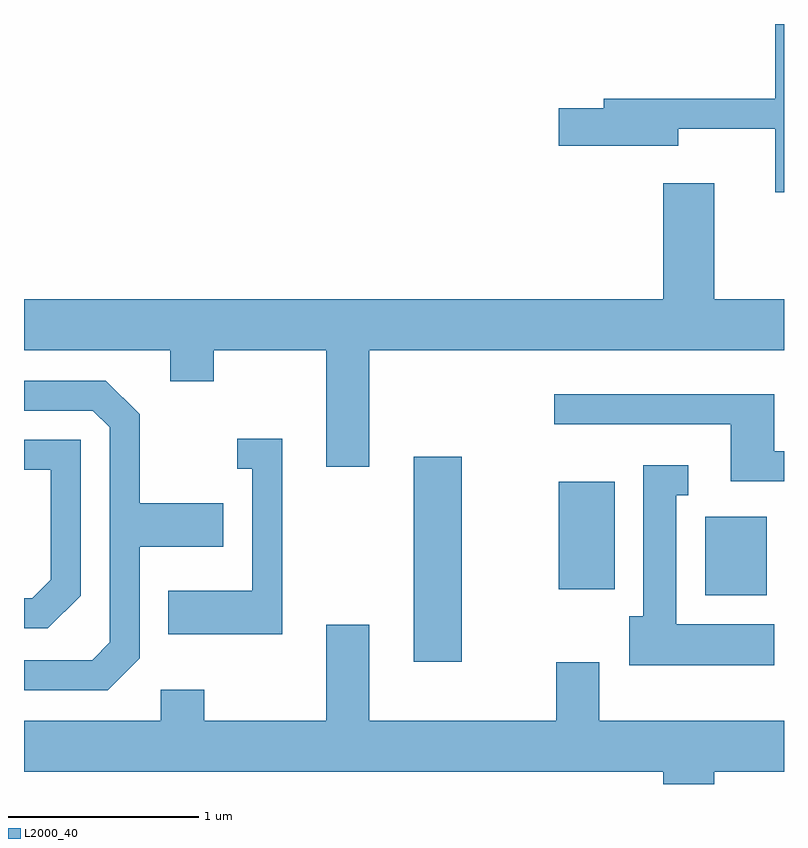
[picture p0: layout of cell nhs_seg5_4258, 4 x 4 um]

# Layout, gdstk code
import gdstk
lib = gdstk.Library(unit=1e-6, precision=1e-09)
def R(c, l, rs):  # rectangles x0, y0, x1, y1
    for r in rs: c.add(gdstk.rectangle(r[:2], r[2:], *l))
def P(c, l, *ps):  # polygons
    for p in ps: c.add(gdstk.Polygon(p, *l))
L2000_40 = (2000, 40)

nhs_seg5_4258 = lib.new_cell('nhs_seg5_4258')
R(nhs_seg5_4258, L2000_40, [(313.661,1450.716,313.914,1451.794), (315.196,1451.066,315.519,1451.479), (314.426,1451.096,314.719,1451.664)])
P(nhs_seg5_4258, L2000_40, [(315.611,1454.072),(315.566,1454.072),(315.566,1453.679),(314.661,1453.679),(314.661,1453.629),(314.426,1453.629),(314.426,1453.431),(315.054,1453.431),(315.054,1453.521),(315.566,1453.521),(315.566,1453.186),(315.611,1453.186)],
  [(313.429,1452.356),(315.611,1452.356),(315.611,1452.624),(315.244,1452.624),(315.244,1453.234),(314.976,1453.234),(314.976,1452.624),(311.611,1452.624),(311.611,1452.356),(312.381,1452.356),(312.381,1452.191),(312.609,1452.191),(312.609,1452.356),(313.201,1452.356),(313.201,1451.741),(313.429,1451.741)],
  [(312.219,1450.734),(312.219,1451.321),(312.659,1451.321),(312.659,1451.549),(312.219,1451.549),(312.219,1452.017),(312.042,1452.194),(311.611,1452.194),(311.611,1452.036),(311.974,1452.036),(312.061,1451.949),(312.061,1450.817),(311.969,1450.724),(311.611,1450.724),(311.611,1450.566),(312.052,1450.566)],
  [(315.611,1451.824),(315.559,1451.824),(315.559,1452.124),(314.403,1452.124),(314.403,1451.966),(315.331,1451.966),(315.331,1451.666),(315.611,1451.666)],
  [(312.969,1451.889),(312.733,1451.889),(312.733,1451.731),(312.811,1451.731),(312.811,1451.089),(312.371,1451.089),(312.371,1450.861),(312.969,1450.861)],
  [(311.909,1451.064),(311.909,1451.884),(311.611,1451.884),(311.611,1451.726),(311.751,1451.726),(311.751,1451.147),(311.654,1451.049),(311.611,1451.049),(311.611,1450.891),(311.737,1450.891)],
  [(315.559,1450.914),(315.044,1450.914),(315.044,1451.591),(315.108,1451.591),(315.108,1451.749),(314.871,1451.749),(314.871,1450.954),(314.796,1450.954),(314.796,1450.696),(315.559,1450.696)],
  [(315.244,1450.136),(315.611,1450.136),(315.611,1450.404),(314.639,1450.404),(314.639,1450.714),(314.411,1450.714),(314.411,1450.404),(313.429,1450.404),(313.429,1450.909),(313.201,1450.909),(313.201,1450.404),(312.559,1450.404),(312.559,1450.569),(312.331,1450.569),(312.331,1450.404),(311.611,1450.404),(311.611,1450.136),(314.976,1450.136),(314.976,1450.072),(315.244,1450.072)])

lib.write_gds('nhs_seg5_4258.gds')
